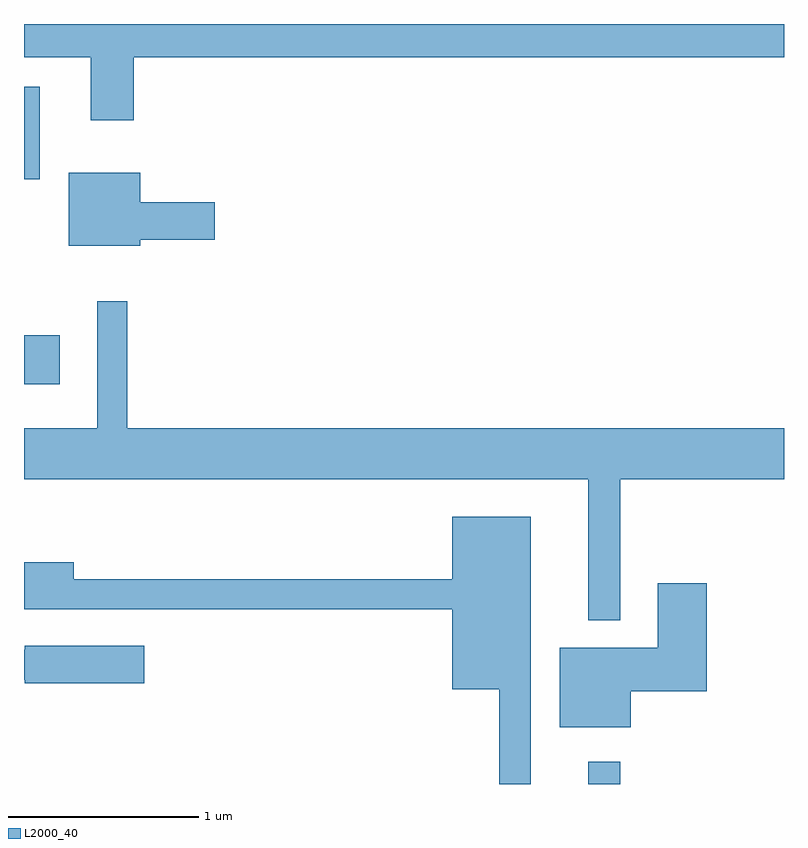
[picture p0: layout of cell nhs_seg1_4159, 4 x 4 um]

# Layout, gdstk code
import gdstk
lib = gdstk.Library(unit=1e-6, precision=1e-09)
def R(c, l, rs):  # rectangles x0, y0, x1, y1
    for r in rs: c.add(gdstk.rectangle(r[:2], r[2:], *l))
def P(c, l, *ps):  # polygons
    for p in ps: c.add(gdstk.Polygon(p, *l))
L2000_40 = (2000, 40)

nhs_seg1_4159 = lib.new_cell('nhs_seg1_4159')
R(nhs_seg1_4159, L2000_40, [(312.581,935.712,312.749,935.828), (309.611,937.816,309.799,938.074), (309.611,938.896,309.694,939.383)])
P(nhs_seg1_4159, L2000_40, [(310.189,939.536),(313.611,939.536),(313.611,939.712),(309.611,939.712),(309.611,939.536),(309.961,939.536),(309.961,939.206),(310.189,939.206)],
  [(310.224,938.576),(310.614,938.576),(310.614,938.774),(310.224,938.774),(310.224,938.929),(309.846,938.929),(309.846,938.546),(310.224,938.546)],
  [(312.749,937.316),(313.611,937.316),(313.611,937.584),(310.154,937.584),(310.154,938.253),(309.996,938.253),(309.996,937.584),(309.611,937.584),(309.611,937.316),(312.581,937.316),(312.581,936.573),(312.749,936.573)],
  [(312.279,937.119),(311.866,937.119),(311.866,936.789),(309.874,936.789),(309.874,936.879),(309.611,936.879),(309.611,936.631),(311.866,936.631),(311.866,936.211),(312.111,936.211),(312.111,935.712),(312.279,935.712)],
  [(312.804,936.201),(313.204,936.201),(313.204,936.769),(312.946,936.769),(312.946,936.429),(312.431,936.429),(312.431,936.011),(312.804,936.011)],
  [(310.244,936.439),(309.616,936.439),(309.616,936.419),(309.611,936.419),(309.611,936.261),(309.616,936.261),(309.616,936.241),(310.244,936.241)])

lib.write_gds('nhs_seg1_4159.gds')
